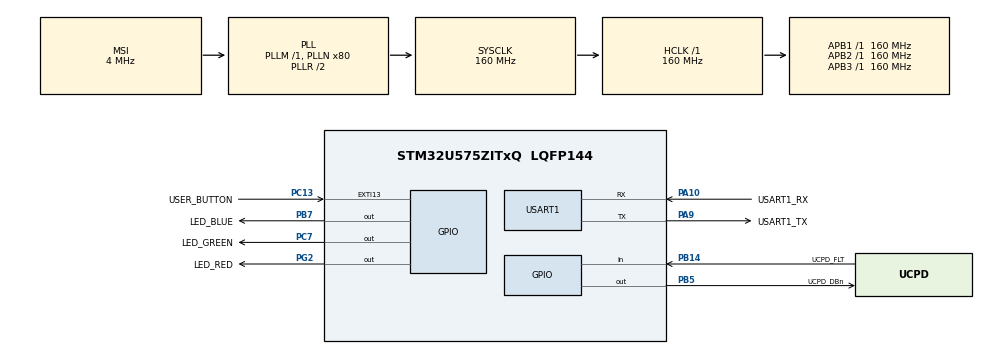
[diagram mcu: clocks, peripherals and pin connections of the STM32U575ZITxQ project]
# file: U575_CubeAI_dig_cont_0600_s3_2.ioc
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CORTEX_M33_NS.userName=CORTEX_M33
Mcu.Family=STM32U5
Mcu.Name=STM32U575ZITxQ
Mcu.Package=LQFP144
NVIC.PriorityGroup=NVIC_PRIORITYGROUP_3
PA10.GPIO_Label=USART1_RX
PA10.GPIO_PuPd=GPIO_PULLDOWN
PA10.GPIO_Speed=GPIO_SPEED_FREQ_VERY_HIGH
PA10.Mode=Asynchronous
PA10.Signal=USART1_RX
PA13\ (JTMS/SWDIO).Mode=Trace_Asynchronous_SW
PA13\ (JTMS/SWDIO).Signal=DEBUG_JTMS-SWDIO
PA14\ (JTCK/SWCLK).Mode=Trace_Asynchronous_SW
PA14\ (JTCK/SWCLK).Signal=DEBUG_JTCK-SWCLK
PA9.GPIO_Label=USART1_TX
PA9.GPIO_PuPd=GPIO_PULLDOWN
PA9.GPIO_Speed=GPIO_SPEED_FREQ_VERY_HIGH
PA9.Mode=Asynchronous
PA9.Signal=USART1_TX
PB14.GPIO_Label=UCPD_FLT
PB14.Signal=GPIO_Input
PB3\ (JTDO/TRACESWO).Mode=Trace_Asynchronous_SW
PB3\ (JTDO/TRACESWO).Signal=DEBUG_JTDO-SWO
PB5.GPIO_Label=UCPD_DBn
PB5.Signal=GPIO_Output
PB7.GPIO_Label=LED_BLUE
PB7.GPIO_ModeDefaultOutputPP=GPIO_MODE_OUTPUT_PP
PB7.GPIO_PuPd=GPIO_PULLUP
PB7.GPIO_Speed=GPIO_SPEED_FREQ_HIGH
PB7.Signal=GPIO_Output
PC13.GPIO_Label=USER_BUTTON
PC13.GPIO_ModeDefaultEXTI=GPIO_MODE_IT_FALLING
PC13.Signal=GPXTI13
PC14-OSC32_IN\ (PC14).Mode=LSE-External-Oscillator
PC14-OSC32_IN\ (PC14).Signal=RCC_OSC32_IN
PC15-OSC32_OUT\ (PC15).Mode=LSE-External-Oscillator
PC15-OSC32_OUT\ (PC15).Signal=RCC_OSC32_OUT
PC7.GPIO_Label=LED_GREEN
PC7.GPIO_PuPd=GPIO_PULLUP
PC7.GPIO_Speed=GPIO_SPEED_FREQ_HIGH
PC7.Signal=GPIO_Output
PG2.GPIO_Label=LED_RED
PG2.GPIO_ModeDefaultOutputPP=GPIO_MODE_OUTPUT_PP
PG2.GPIO_PuPd=GPIO_PULLUP
PG2.GPIO_Speed=GPIO_SPEED_FREQ_HIGH
PG2.Signal=GPIO_Output
PWR.PowerMode=PWR_SMPS_SUPPLY
ProjectManager.HeapSize=0x800
ProjectManager.StackSize=0x800
ProjectManager.TargetToolchain=STM32CubeIDE
RCC.ADCFreq_Value=16000000
RCC.AHBFreq_Value=160000000
RCC.APB1Freq_Value=160000000
RCC.APB1TimFreq_Value=160000000
RCC.APB2Freq_Value=160000000
RCC.APB2TimFreq_Value=160000000
RCC.APB3Freq_Value=160000000
RCC.CortexFreq_Value=160000000
RCC.DACCLockSelectionVirtual=RCC_DAC1CLKSOURCE_LSI
RCC.DACCLockSelectionVirtualString=RCC_DAC1CLKSOURCE_LSI
RCC.EPOD_VALUE=4000000
RCC.HCLKFreq_Value=160000000
RCC.HSE_VALUE=16000000
RCC.HSI48_VALUE=48000000
RCC.HSI_VALUE=16000000
RCC.LSIDIV_VALUE=32000
RCC.MSI_VALUE=4000000
RCC.PLLN=80
RCC.SYSCLKFreq_VALUE=160000000
RCC.SYSCLKSource=RCC_SYSCLKSOURCE_PLLCLK
RCC.USBFreq_Value=48000000
RCC.VCOOutputFreq_Value=320000000
STMicroelectronics.X-CUBE-AI.8.1.0.ActivationBufferSizeList=177164
STMicroelectronics.X-CUBE-AI.8.1.0.ActivationBuffers=pool0
STMicroelectronics.X-CUBE-AI.8.1.0.ActivationNames=pool0
STMicroelectronics.X-CUBE-AI.8.1.0.ActivationSizes=AI_NETWORK_DATA_ACTIVATION_1_SIZE
STMicroelectronics.X-CUBE-AI.8.1.0.HeapSize=0x800
STMicroelectronics.X-CUBE-AI.8.1.0.InternalRamActivationBufferMaxSize=AI_NETWORK_DATA_ACTIVATIONS_SIZE
STMicroelectronics.X-CUBE-AI.8.1.0.LatestDirectoryUsed-d95aa107a9dea7e27df92a5d5943bbae9910037f21c2b0f65aa65857521fea97=C\:\\Users\\Admin\\Desktop\\camera\\ai
STMicroelectronics.X-CUBE-AI.8.1.0.MaximumNumberOfInputLayer=1
STMicroelectronics.X-CUBE-AI.8.1.0.MaximumNumberOfOutputLayer=1
STMicroelectronics.X-CUBE-AI.8.1.0.MaximumSizeOfInputLayer=1
STMicroelectronics.X-CUBE-AI.8.1.0.MaximumSizeOfOutputLayer=1
STMicroelectronics.X-CUBE-AI.8.1.0.ModelActualCompression-d95aa107a9dea7e27df92a5d5943bbae9910037f21c2b0f65aa65857521fea97=0.0
STMicroelectronics.X-CUBE-AI.8.1.0.ModelCompression-d95aa107a9dea7e27df92a5d5943bbae9910037f21c2b0f65aa65857521fea97=None
STMicroelectronics.X-CUBE-AI.8.1.0.ModelFlashOccupation-d95aa107a9dea7e27df92a5d5943bbae9910037f21c2b0f65aa65857521fea97=1211762
STMicroelectronics.X-CUBE-AI.8.1.0.ModelHashList=d95aa107a9dea7e27df92a5d5943bbae9910037f21c2b0f65aa65857521fea97
STMicroelectronics.X-CUBE-AI.8.1.0.ModelKind-d95aa107a9dea7e27df92a5d5943bbae9910037f21c2b0f65aa65857521fea97=TFLITE
STMicroelectronics.X-CUBE-AI.8.1.0.ModelMacc-d95aa107a9dea7e27df92a5d5943bbae9910037f21c2b0f65aa65857521fea97=16388640
STMicroelectronics.X-CUBE-AI.8.1.0.ModelName-d95aa107a9dea7e27df92a5d5943bbae9910037f21c2b0f65aa65857521fea97=network
STMicroelectronics.X-CUBE-AI.8.1.0.ModelNameList=network
STMicroelectronics.X-CUBE-AI.8.1.0.ModelRamOccupation-d95aa107a9dea7e27df92a5d5943bbae9910037f21c2b0f65aa65857521fea97=177164
STMicroelectronics.X-CUBE-AI.8.1.0.ModelStructureFile-d95aa107a9dea7e27df92a5d5943bbae9910037f21c2b0f65aa65857521fea97=C\:\\Users\\Admin\\Desktop\\camera\\ai\\dig-cont_0600_s3.tflite
STMicroelectronics.X-CUBE-AI.8.1.0.ModelType-d95aa107a9dea7e27df92a5d5943bbae9910037f21c2b0f65aa65857521fea97=STM32Cube.AI runtime
STMicroelectronics.X-CUBE-AI.8.1.0.ReadyForCodeGeneration=true
STMicroelectronics.X-CUBE-AI.8.1.0.StackSize=0x800
STMicroelectronics.X-CUBE-AI.8.1.0.WorkingBufferStartAddrList=0xFFFFFFFF
STMicroelectronics.X-CUBE-AI.8.1.0.XAaCUBEAaAICcArtificialOoIntelligenceJjCore=true
STMicroelectronics.X-CUBE-AI.8.1.0.copyWeightToRam=false
STMicroelectronics.X-CUBE-AI.8.1.0.copyWeightToRam-d95aa107a9dea7e27df92a5d5943bbae9910037f21c2b0f65aa65857521fea97=false
STMicroelectronics.X-CUBE-AI.8.1.0.customLayerConfigEnabled=false
STMicroelectronics.X-CUBE-AI.8.1.0.customLayerConfigEnabled-d95aa107a9dea7e27df92a5d5943bbae9910037f21c2b0f65aa65857521fea97=false
STMicroelectronics.X-CUBE-AI.8.1.0.noOnnxIoTranspose=false
STMicroelectronics.X-CUBE-AI.8.1.0.noOnnxIoTranspose-d95aa107a9dea7e27df92a5d5943bbae9910037f21c2b0f65aa65857521fea97=false
STMicroelectronics.X-CUBE-AI.8.1.0.useInputAllocation=true
STMicroelectronics.X-CUBE-AI.8.1.0.useInputAllocation-d95aa107a9dea7e27df92a5d5943bbae9910037f21c2b0f65aa65857521fea97=true
STMicroelectronics.X-CUBE-AI.8.1.0.useOutputAllocation=true
STMicroelectronics.X-CUBE-AI.8.1.0.useOutputAllocation-d95aa107a9dea7e27df92a5d5943bbae9910037f21c2b0f65aa65857521fea97=true
TIM16.AutoReloadPreload=TIM_AUTORELOAD_PRELOAD_ENABLE
TIM16.Prescaler=159
USART1.VirtualMode-Asynchronous=VM_ASYNC
VP_CRC_VS_CRC.Mode=CRC_Activate
VP_ICACHE_VS_ICACHE.Mode=DirectMappedCache
VP_LPBAMQUEUE_VS_QUEUE.Mode=QUEUEMODE
VP_LPBAM_VS_SIG1.Mode=SmartRun
VP_LPBAM_VS_SIG4.Mode=LPDMA1
VP_PWR_VS_DBSignals.Mode=DisableDeadBatterySignals
VP_PWR_VS_LPOM.Mode=PowerOptimisation
VP_PWR_VS_SECSignals.Mode=Security/Privilege
VP_STMicroelectronics.X-CUBE-AI_VS_ArtificialOoIntelligenceJjXAaCUBEAaAI_8.1.0.Mode=ArtificialOoIntelligenceJjXAaCUBEAaAI
VP_TIM16_VS_ClockSourceINT.Mode=Enable_Timer
board=NUCLEO-U575ZI-Q

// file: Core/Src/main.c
/* USER CODE BEGIN Header */
/**
  ******************************************************************************
  * @file           : main.c
  * @brief          : Main program body
  ******************************************************************************
  * @attention
  *
  * Copyright (c) 2023 STMicroelectronics.
  * All rights reserved.
  *
  * This software is licensed under terms that can be found in the LICENSE file
  * in the root directory of this software component.
  * If no LICENSE file comes with this software, it is provided AS-IS.
  *
  ******************************************************************************
  */
/* USER CODE END Header */
#include "main.h"

/* USER CODE BEGIN Includes */
#include <stdio.h>

#include "ai_datatypes_defines.h"
#include "ai_platform.h"
#include "network_data.h"
#include "network.h"
/* USER CODE END Includes */

CRC_HandleTypeDef hcrc;

TIM_HandleTypeDef htim16;

UART_HandleTypeDef huart1;

/* USER CODE BEGIN PV */

/* 模型句柄 */
static ai_handle network = AI_HANDLE_NULL;

/* 神经网络中间�???? ( �????活缓冲区 ) */
AI_ALIGNED(32)
static ai_u8 activations[AI_NETWORK_DATA_ACTIVATIONS_SIZE];

/* 输入张量的缓冲区 */
AI_ALIGNED(32)
static ai_float in_data[AI_NETWORK_IN_1_SIZE];
// static ai_u8 in_data[AI_NETWORK_IN_1_SIZE_BYTES];

/* 输出张量的缓冲区 */
AI_ALIGNED(32)
static ai_float out_data[AI_NETWORK_OUT_1_SIZE];
// static ai_u8 out_data[AI_NETWORK_OUT_1_SIZE_BYTES];

/* 模型输入输出张量指针 */
static ai_buffer *ai_input;
static ai_buffer *ai_output;

uint8_t data[AI_NETWORK_IN_1_SIZE] = {
		255,255,255, 255,255,255, 255,255,255, 255,255,255, 255,255,255, 255,255,255, 255,255,255, 255,255,255, 255,255,255, 255,255,255, 255,255,255, 255,255,255, 255,255,255, 255,255,255, 255,255,255, 255,255,255, 255,255,255, 255,255,255, 255,255,255, 255,255,255,
		255,255,255, 255,255,255, 255,255,255, 255,255,255, 255,255,255, 255,255,255, 255,255,255, 255,255,255, 255,255,255, 255,255,255, 255,255,255, 255,255,255, 255,255,255, 255,255,255, 255,255,255, 255,255,255, 255,255,255, 255,255,255, 255,255,255, 255,255,255,
		255,255,255, 255,255,255, 255,255,255, 255,255,255, 255,255,255, 255,255,255, 255,255,255, 255,255,255, 255,255,255, 255,255,255, 239,239,239,  91, 91, 91,  80, 80, 80,  80, 80, 80,  80, 80, 80, 252,252,252, 255,255,255, 255,255,255, 255,255,255, 255,255,255,
		255,255,255, 255,255,255, 255,255,255, 255,255,255, 255,255,255, 255,255,255, 255,255,255, 255,255,255, 255,255,255, 255,255,255, 104,104,104,   7,  7,  7,   7,  7,  7,   4,  4,  4,   0,  0,  0, 124,124,124, 254,254,254, 254,254,254, 255,255,255, 255,255,255,
		255,255,255, 255,255,255, 255,255,255, 255,255,255, 255,255,255, 255,255,255, 255,255,255, 255,255,255, 254,254,254, 157,157,157,   3,  3,  3,  32, 32, 32, 116,116,116, 116,116,116,  21, 21, 21,  14, 14, 14, 176,176,176, 254,254,254, 255,255,255, 255,255,255,
		255,255,255, 255,255,255, 255,255,255, 255,255,255, 255,255,255, 255,255,255, 255,255,255, 255,255,255, 202,202,202,  22, 22, 22,   8,  8,  8, 129,129,129, 252,252,252, 255,255,255, 109,109,109,   0,  0,  0,  52, 52, 52, 215,215,215, 255,255,255, 255,255,255,
		255,255,255, 255,255,255, 255,255,255, 255,255,255, 255,255,255, 255,255,255, 255,255,255, 255,255,255,  87, 87, 87,   2,  2,  2,  67, 67, 67, 252,252,252, 255,255,255, 255,255,255, 248,248,248,  43, 43, 43,   0,  0,  0, 127,127,127, 255,255,255, 255,255,255,
		255,255,255, 255,255,255, 255,255,255, 255,255,255, 255,255,255, 255,255,255, 255,255,255, 255,255,255,  78, 78, 78,   0,  0,  0, 250,250,250, 255,255,255, 255,255,255, 255,255,255, 255,255,255, 229,229,229,   0,  0,  0, 127,127,127, 255,255,255, 255,255,255,
		255,255,255, 255,255,255, 255,255,255, 255,255,255, 255,255,255, 255,255,255, 255,255,255, 255,255,255,  76, 76, 76,   0,  0,  0, 255,255,255, 255,255,255, 255,255,255, 255,255,255, 255,255,255, 230,230,230,   3,  3,  3, 127,127,127, 255,255,255, 255,255,255,
		255,255,255, 255,255,255, 255,255,255, 255,255,255, 255,255,255, 255,255,255, 255,255,255, 255,255,255,  83, 83, 83,   1,  1,  1, 255,255,255, 255,255,255, 255,255,255, 255,255,255, 255,255,255, 229,229,229,   1,  1,  1, 127,127,127, 255,255,255, 255,255,255,
		255,255,255, 255,255,255, 255,255,255, 255,255,255, 255,255,255, 255,255,255, 255,255,255, 255,255,255,  79, 79, 79,   0,  0,  0, 255,255,255, 255,255,255, 255,255,255, 255,255,255, 255,255,255, 229,229,229,   0,  0,  0, 127,127,127, 255,255,255, 255,255,255,
		255,255,255, 255,255,255, 255,255,255, 255,255,255, 255,255,255, 255,255,255, 255,255,255, 255,255,255,  76, 76, 76,   0,  0,  0, 255,255,255, 255,255,255, 255,255,255, 255,255,255, 255,255,255, 229,229,229,   0,  0,  0, 127,127,127, 255,255,255, 255,255,255,
		255,255,255, 255,255,255, 255,255,255, 255,255,255, 255,255,255, 255,255,255, 255,255,255, 255,255,255,  76, 76, 76,   0,  0,  0, 255,255,255, 255,255,255, 255,255,255, 255,255,255, 255,255,255, 229,229,229,   0,  0,  0, 127,127,127, 255,255,255, 255,255,255,
		255,255,255, 255,255,255, 255,255,255, 255,255,255, 255,255,255, 255,255,255, 255,255,255, 255,255,255,  83, 83, 83,   1,  1,  1, 255,255,255, 255,255,255, 255,255,255, 255,255,255, 255,255,255, 229,229,229,   0,  0,  0, 127,127,127, 255,255,255, 255,255,255,
		255,255,255, 255,255,255, 255,255,255, 255,255,255, 255,255,255, 255,255,255, 255,255,255, 255,255,255,  98, 98, 98,   3,  3,  3, 255,255,255, 255,255,255, 255,255,255, 255,255,255, 255,255,255, 229,229,229,   1,  1,  1, 127,127,127, 255,255,255, 255,255,255,
		255,255,255, 255,255,255, 255,255,255, 255,255,255, 255,255,255, 255,255,255, 255,255,255, 255,255,255,  92, 92, 92,   2,  2,  2, 255,255,255, 255,255,255, 255,255,255, 255,255,255, 255,255,255, 230,230,230,   4,  4,  4, 128,128,128, 255,255,255, 255,255,255,
		255,255,255, 255,255,255, 255,255,255, 255,255,255, 255,255,255, 255,255,255, 255,255,255, 255,255,255,  77, 77, 77,   0,  0,  0, 255,255,255, 255,255,255, 255,255,255, 255,255,255, 255,255,255, 229,229,229,   1,  1,  1, 128,128,128, 255,255,255, 255,255,255,
		255,255,255, 255,255,255, 255,255,255, 255,255,255, 255,255,255, 255,255,255, 255,255,255, 255,255,255,  85, 85, 85,   3,  3,  3, 255,255,255, 255,255,255, 255,255,255, 255,255,255, 255,255,255, 230,230,230,   1,  1,  1, 128,128,128, 255,255,255, 255,255,255,
		255,255,255, 255,255,255, 255,255,255, 255,255,255, 255,255,255, 255,255,255, 255,255,255, 255,255,255,  83, 83, 83,   1,  1,  1, 255,255,255, 255,255,255, 255,255,255, 255,255,255, 255,255,255, 229,229,229,   0,  0,  0, 127,127,127, 255,255,255, 255,255,255,
		255,255,255, 255,255,255, 255,255,255, 255,255,255, 255,255,255, 255,255,255, 255,255,255, 255,255,255,  79, 79, 79,   0,  0,  0, 255,255,255, 255,255,255, 255,255,255, 255,255,255, 255,255,255, 229,229,229,   0,  0,  0, 127,127,127, 255,255,255, 255,255,255,
		255,255,255, 255,255,255, 255,255,255, 255,255,255, 255,255,255, 255,255,255, 255,255,255, 255,255,255,  76, 76, 76,   0,  0,  0, 250,250,250, 255,255,255, 255,255,255, 255,255,255, 255,255,255, 229,229,229,   0,  0,  0, 127,127,127, 255,255,255, 255,255,255,
		255,255,255, 255,255,255, 255,255,255, 255,255,255, 255,255,255, 255,255,255, 255,255,255, 255,255,255,  78, 78, 78,   1,  1,  1, 182,182,182, 254,254,254, 255,255,255, 255,255,255, 253,253,253, 164,164,164,   0,  0,  0, 128,128,128, 255,255,255, 255,255,255,
		255,255,255, 255,255,255, 255,255,255, 255,255,255, 255,255,255, 255,255,255, 255,255,255, 255,255,255, 114,114,114,   8,  8,  8,  36, 36, 36, 221,221,221, 255,255,255, 255,255,255, 207,207,207,  21, 21, 21,  17, 17, 17, 153,153,153, 255,255,255, 255,255,255,
		255,255,255, 255,255,255, 255,255,255, 255,255,255, 255,255,255, 255,255,255, 255,255,255, 255,255,255, 255,255,255,  53, 53, 53,   4,  4,  4,  85, 85, 85, 238,238,238, 239,239,239,  24, 24, 24,  19, 19, 19,  97, 97, 97, 255,255,255, 255,255,255, 255,255,255,
		255,255,255, 255,255,255, 255,255,255, 255,255,255, 255,255,255, 255,255,255, 255,255,255, 255,255,255, 255,255,255, 241,241,241,  26, 26, 26,   8,  8,  8,  20, 20, 20,  18, 18, 18,   2,  2,  2,  38, 38, 38, 244,244,244, 255,255,255, 255,255,255, 255,255,255,
		255,255,255, 255,255,255, 255,255,255, 255,255,255, 255,255,255, 255,255,255, 255,255,255, 255,255,255, 255,255,255, 255,255,255, 193,193,193,  10, 10, 10,   1,  1,  1,   0,  0,  0,   3,  3,  3, 214,214,214, 255,255,255, 255,255,255, 255,255,255, 255,255,255,
		255,255,255, 255,255,255, 255,255,255, 255,255,255, 255,255,255, 255,255,255, 255,255,255, 255,255,255, 255,255,255, 255,255,255, 247,247,247, 179,179,179, 175,175,175, 175,175,175, 176,176,176, 255,255,255, 255,255,255, 255,255,255, 255,255,255, 255,255,255,
		255,255,255, 255,255,255, 255,255,255, 255,255,255, 255,255,255, 255,255,255, 255,255,255, 255,255,255, 255,255,255, 255,255,255, 255,255,255, 255,255,255, 255,255,255, 255,255,255, 255,255,255, 255,255,255, 255,255,255, 255,255,255, 255,255,255, 255,255,255,
		255,255,255, 255,255,255, 255,255,255, 255,255,255, 255,255,255, 255,255,255, 255,255,255, 255,255,255, 255,255,255, 255,255,255, 255,255,255, 255,255,255, 255,255,255, 255,255,255, 255,255,255, 255,255,255, 255,255,255, 255,255,255, 255,255,255, 255,255,255,
		255,255,255, 255,255,255, 255,255,255, 255,255,255, 255,255,255, 255,255,255, 255,255,255, 255,255,255, 255,255,255, 255,255,255, 255,255,255, 255,255,255, 255,255,255, 255,255,255, 255,255,255, 255,255,255, 255,255,255, 255,255,255, 255,255,255, 255,255,255,
		255,255,255, 255,255,255, 255,255,255, 255,255,255, 255,255,255, 255,255,255, 255,255,255, 255,255,255, 255,255,255, 255,255,255, 255,255,255, 255,255,255, 255,255,255, 255,255,255, 255,255,255, 255,255,255, 255,255,255, 255,255,255, 255,255,255, 255,255,255,
		255,255,255, 255,255,255, 255,255,255, 255,255,255, 255,255,255, 255,255,255, 255,255,255, 255,255,255, 255,255,255, 255,255,255, 255,255,255, 255,255,255, 255,255,255, 255,255,255, 255,255,255, 255,255,255, 255,255,255, 255,255,255, 255,255,255, 255,255,255,
		};

//uint8_t data[AI_NETWORK_IN_1_SIZE] = {
//		40, 48, 48,  40, 52, 48,  48, 52, 48,  40, 48, 48,  40, 40, 40,  24, 28, 32,  24, 28, 32,  24, 28, 32,  16, 28, 32,  16, 28, 32,  24, 28, 32,  32, 28, 32,  24, 24, 32,  24, 24, 32,  16, 24, 24,  24, 20, 24,  24, 20, 24,  24, 24, 32,  16, 24, 24,  24, 20, 24,
//		40, 52, 48,  40, 52, 48,  40, 40, 48,  24, 32, 40,  24, 28, 32,  32, 28, 32,  24, 28, 40,  24, 24, 32,  24, 28, 32,  32, 32, 32,  32, 60, 48,  40, 48, 48,  32, 32, 32,  24, 20, 24,  24, 20, 24,  24, 20, 24,  24, 20, 24,  24, 20, 24,  24, 24, 24,  24, 20, 32,
//		40, 44, 40,  40, 36, 40,  24, 28, 32,  24, 20, 32,  24, 36, 32,  32, 28, 40,  16, 28, 24,  24, 16, 40,  24, 28, 32,  24, 20, 24,  40, 48, 40,  40, 56, 48,  32, 32, 32,  16, 24, 24,  24, 20, 24,  24, 20, 24,  24, 20, 16,  24, 20, 24,  24, 20, 24,  16, 28, 24,
//		32, 32, 40,  32, 28, 40,  24, 24, 40,  32, 40, 40,  56, 72, 72,  80, 88, 96,  80, 92, 96,  96, 96,112,  48, 32, 64,  32, 36, 40,  32, 28, 32,  32, 32, 32,  24, 12, 24,  24, 20, 24,  24, 20, 24,  24, 20, 24,  24, 20, 24,  24, 20, 24,  24, 20, 24,  24, 20, 24,
//		24, 24, 32,  32, 28, 40,  32, 44, 40,  72, 76, 72,  88, 96,112,  80,108,104,  96,108,112, 104,112,112, 104,108,112,  56, 48, 64,  32, 36, 40,  24, 32, 32,  24, 28, 24,  24, 24, 24,  24, 20, 24,  24, 20, 24,  24, 24, 24,  16, 24, 24,  24, 20, 24,  24, 24, 24,
//		24, 20, 32,  32, 32, 40,  48, 52, 56,  88, 84, 96, 104,112,120,  88, 88, 96,  96, 84, 96, 112,104,120, 112,112,128, 104,108,120,  40, 44, 56,  24, 36, 32,  24, 28, 32,  24, 24, 24,  24, 24, 24,  24, 20, 32,  24, 20, 24,  16, 24, 24,  16, 24, 32,  24, 28, 24,
//		24, 28, 32,  32, 28, 40,  72, 72, 80,  96,112,112,  96, 88, 96,  56, 52, 72,  32, 32, 32,  40, 36, 56,  96,112,120, 120,140,136,  72, 80, 88,  16, 20, 32,  32, 28, 40,  32, 28, 32,  24, 28, 32,  24, 28, 24,  24, 20, 24,  24, 24, 24,  24, 20, 24,  24, 24, 32,
//		32, 28, 32,  40, 48, 56,  88,104, 96, 104, 96,104,  72, 56, 72,  40, 36, 40,  40, 36, 48,  40, 48, 48,  80, 92, 88, 104,120,128,  96,100,112,  48, 48, 48,  32, 32, 40,  32, 32, 40,  32, 32, 40,  24, 28, 32,  24, 28, 32,  16, 24, 24,  24, 24, 24,  24, 28, 32,
//		24, 32, 32,  48, 56, 56,  96,112,104,  96, 96,104,  48, 56, 72,  40, 36, 48,  32, 36, 40,  32, 32, 40,  56, 72, 64, 104,120,120, 112,112,120,  48, 52, 64,  32, 36, 40,  32, 32, 40,  24, 32, 32,  24, 32, 32,  24, 32, 32,  24, 20, 32,  24, 20, 32,  24, 20, 32,
//		32, 28, 40,  56, 72, 72, 112,136,128,  88,100,104,  48, 52, 56,  32, 40, 40,  32, 36, 40,  32, 40, 40,  48, 52, 64,  88,108, 96, 120,128,128,  64, 64, 80,  24, 32, 24,  32, 28, 32,  32, 28, 32,  24, 28, 32,  24, 24, 32,  24, 28, 32,  24, 20, 24,  16, 28, 32,
//		40, 40, 48,  64, 92, 80,  96,104,112,  88, 84, 96,  48, 52, 56,  32, 36, 40,  32, 36, 40,  32, 40, 32,  40, 48, 48,  88,120,104, 128,128,128,  88, 84, 88,  32, 36, 40,  32, 32, 32,  32, 28, 32,  24, 28, 32,  24, 28, 32,  24, 32, 24,  24, 28, 24,  24, 28, 32,
//		32, 20, 40,  64, 80, 72, 104,124,120,  80, 80, 96,  40, 32, 40,  40, 36, 40,  32, 36, 40,  40, 36, 40,  32, 20, 40,  80, 84, 88, 112,120,112,  80, 92,104,  40, 40, 48,  32, 28, 32,  32, 28, 40,  32, 28, 32,  24, 32, 24,  24, 28, 32,  24, 28, 32,  24, 28, 32,
//		32, 40, 40,  64, 72, 64, 104,128,120,  80, 84, 96,  48, 36, 56,  40, 36, 48,  32, 36, 40,  32, 36, 40,  48, 40, 48,  80, 76, 88, 112,116,128,  88, 96,104,  48, 28, 56,  32, 28, 40,  24, 28, 32,  24, 28, 32,  24, 28, 32,  24, 28, 32,  24, 24, 32,  24, 28, 32,
//		40, 28, 40,  56, 56, 64,  96,108,112,  88, 84, 96,  48, 40, 56,  40, 36, 48,  32, 36, 40,  32, 36, 40,  40, 24, 40,  72, 72, 72, 112,112,128, 112,104,112,  40, 12, 48,  24, 28, 32,  24, 28, 32,  24, 28, 32,  32, 28, 32,  32, 28, 24,  24, 28, 32,  32, 28, 32,
//		40, 36, 40,  48, 44, 56,  88, 96,104,  96, 96,104,  48, 60, 56,  32, 40, 40,  32, 36, 40,  32, 36, 40,  32, 36, 40,  64, 72, 64, 104,116,128, 112,116,112,  48, 36, 48,  32, 32, 32,  24, 28, 32,  24, 24, 32,  24, 28, 32,  24, 32, 24,  24, 28, 32,  24, 28, 32,
//		32, 32, 32,  32, 40, 40,  88,112,104,  96,108,104,  64, 56, 80,  32, 48, 40,  32, 40, 48,  32, 40, 48,  32, 32, 48,  80, 84, 72, 104,112,128,  96,100,112,  48, 32, 48,  32, 32, 32,  24, 28, 32,  24, 28, 24,  24, 24, 32,  32, 28, 32,  24, 28, 32,  24, 28, 32,
//		32, 28, 32,  24, 24, 40,  72, 84, 80,  96,112,104,  80, 76, 88,  48, 44, 56,  40, 40, 48,  40, 40, 48,  32, 32, 48,  72, 96, 88, 112,132,120,  96, 88,112,  48, 36, 48,  40, 28, 40,  24, 32, 32,  24, 28, 32,  24, 28, 32,  24, 28, 32,  24, 28, 32,  32, 24, 32,
//		32, 32, 40,  32, 36, 40,  56, 68, 64,  96,108,120,  88, 96,104,  56, 60, 64,  48, 44, 48,  40, 40, 48,  32, 24, 48,  80, 96, 96, 112,116,128,  96, 84,112,  48, 44, 48,  32, 36, 40,  32, 32, 32,  32, 28, 32,  32, 32, 32,  24, 32, 32,  24, 32, 32,  32, 28, 32,
//		32, 36, 40,  40, 32, 40,  40, 48, 40,  88,100, 96, 112,104,120,  88, 76, 96,  48, 56, 56,  48, 44, 56,  56, 68, 64,  96,104,104, 112,108,120,  72, 68, 88,  40, 44, 56,  40, 36, 40,  40, 36, 40,  40, 36, 40,  32, 36, 40,  24, 32, 32,  24, 32, 32,  32, 32, 40,
//		32, 32, 32,  32, 28, 32,  40, 36, 48,  56, 76, 64,  96,112,112, 112,104,112,  88, 80, 96,  56, 68, 64,  88, 84,104, 112,112,112, 104,100,120,  72, 64, 88,  40, 40, 56,  40, 36, 48,  40, 36, 40,  40, 40, 40,  40, 36, 40,  32, 36, 40,  32, 36, 40,  32, 36, 40,
//		32, 32, 32,  32, 28, 32,  32, 36, 40,  32, 36, 40,  72, 88, 80, 104,108,112, 112,112,112, 112,116,120, 112,116,128,  96,108,112,  96, 92, 96,  48, 44, 56,  40, 40, 48,  40, 36, 40,  32, 36, 40,  32, 40, 40,  32, 40, 40,  40, 36, 40,  32, 36, 40,  32, 36, 40,
//		24, 36, 32,  32, 32, 32,  32, 36, 40,  32, 40, 40,  32, 32, 48,  88, 92, 88, 104,104,112, 104,108,104,  96,104,112,  96,104,104,  64, 52, 72,  40, 40, 40,  40, 36, 40,  32, 36, 40,  40, 36, 40,  40, 36, 40,  40, 40, 40,  40, 36, 40,  32, 36, 40,  40, 36, 40,
//		32, 36, 40,  40, 32, 40,  32, 32, 40,  32, 36, 40,  40, 40, 48,  32, 24, 40,  40, 60, 48,  72, 88, 80,  72, 72, 88,  48, 40, 56,  32, 44, 40,  40, 40, 40,  32, 36, 40,  32, 36, 32,  32, 32, 32,  40, 36, 40,  40, 40, 40,  40, 44, 48,  40, 40, 40,  40, 40, 40,
//		32, 36, 32,  32, 36, 40,  32, 36, 40,  32, 36, 40,  40, 40, 48,  40, 40, 40,  40, 40, 48,  40, 40, 48,  48, 44, 48,  48, 44, 48,  40, 44, 48,  32, 40, 40,  40, 36, 40,  32, 36, 40,  40, 32, 40,  40, 36, 40,  40, 40, 40,  48, 44, 48,  48, 44, 48,  40, 44, 40,
//		32, 36, 40,  32, 36, 40,  40, 36, 40,  40, 40, 40,  48, 40, 48,  40, 44, 40,  40, 44, 40,  40, 44, 40,  40, 44, 48,  48, 48, 48,  48, 48, 48,  40, 44, 48,  40, 44, 40,  40, 40, 40,  40, 40, 40,  40, 44, 40,  40, 44, 40,  48, 44, 48,  48, 44, 48,  48, 48, 40,
//		40, 44, 40,  40, 44, 40,  48, 44, 48,  48, 44, 48,  48, 44, 48,  48, 52, 48,  48, 52, 48,  48, 52, 56,  56, 52, 56,  64, 60, 56,  56, 56, 56,  56, 56, 56,  48, 48, 48,  48, 52, 48,  48, 48, 48,  40, 44, 40,  48, 40, 40,  48, 52, 40,  48, 44, 40,  48, 36, 40,
//		56, 52, 40,  56, 52, 40,  56, 56, 48,  64, 60, 64,  72, 72, 72,  80, 92, 72,  80, 68, 72,  72, 44, 56,  88, 92, 80, 104, 92, 88, 104,104, 88, 104, 96, 80,  80, 84, 72,  96,100, 80, 104,104, 96, 104,100, 96, 104,104, 96, 104,108, 88, 112,112, 96, 112,112,104,
//		144,128,128, 144,140,136, 144,148,128, 144,144,136, 144,140,128, 144,144,136, 144,148,136, 152,152,144, 152,152,136, 152,144,136, 144,144,136, 152,152,144, 152,152,144, 144,140,144, 144,144,144, 144,144,136, 144,144,144, 144,144,144, 144,148,144, 152,148,152,
//		144,144,144, 144,152,144, 136,148,136, 136,144,144, 144,148,144, 144,148,144, 144,148,144, 144,148,144, 152,148,144, 144,144,144, 152,148,152, 152,152,144, 152,152,152, 152,152,152, 152,152,152, 152,152,152, 152,152,152, 144,152,144, 152,152,152, 152,152,152,
//		144,148,152, 144,148,144, 152,148,152, 144,148,152, 144,152,144, 144,152,144, 144,152,152, 152,152,152, 152,152,144, 144,152,152, 152,148,152, 152,148,160, 152,148,152, 152,152,152, 152,156,152, 152,152,152, 152,156,152, 152,156,152, 152,156,152, 152,156,152,
//		144,148,152, 144,152,152, 152,148,152, 152,152,152, 152,152,152, 152,152,152, 152,152,152, 152,148,152, 144,156,152, 152,152,152, 144,156,152, 144,156,152, 152,156,152, 152,152,152, 160,156,152, 160,156,152, 152,160,152, 152,156,152, 160,156,152, 160,160,152,
//		144,148,144, 144,148,144, 152,152,152, 152,152,152, 152,148,152, 152,152,152, 160,148,152, 144,152,152, 152,156,152, 160,160,160, 160,152,144, 152,160,152, 160,156,152, 160,152,152, 152,160,152, 160,156,152, 160,156,160, 152,156,152, 160,168,152, 160,156,152,
//		};

//uint8_t data[AI_NETWORK_IN_1_SIZE] = {
//		 96, 96, 88,  96,108, 96, 104,112, 96,  96, 96, 96, 104, 88, 80,  96, 88, 72,  80, 84, 64,  88, 80, 72,  72, 68, 64,  64, 72, 56,  64, 80, 64,  72, 80, 56,  80, 72, 64,  80, 84, 64,  72, 72, 64,  72, 60, 64,  64, 60, 48,  72, 76, 56,  64, 80, 56,  56, 76, 56,
//		 24, 12,  8,  24, 24, 16,  24, 28, 16,  48, 32, 32,  32, 28, 32,  24, 28, 32,  32, 32, 32,  32, 36, 32,  32, 32, 24,  32, 32, 32,  32, 32, 32,  32, 32, 32,  32, 32, 32,  40, 32, 32,  40, 36, 32,  24, 24, 24,  40, 36, 32,  48, 52, 40,  32, 40, 32,  32, 32, 24,
//		 32, 32, 24,  32, 28, 24,  32, 28, 24,  40, 28, 32,  32, 32, 32,  32, 36, 24,  32, 32, 32,  32, 32, 32,  32, 28, 24,  32, 24, 24,  32, 24, 24,  32, 24, 24,  24, 24, 24,  32, 28, 32,  32, 32, 32,  32, 32, 24,  32, 32, 24,  32, 36, 32,  32, 32, 32,  32, 28, 24,
//		 32, 28, 24,  24, 32, 24,  32, 28, 24,  32, 32, 32,  40, 32, 32,  32, 32, 32,  32, 32, 32,  32, 32, 32,  32, 28, 32,  32, 24, 24,  24, 24, 24,  24, 24, 24,  24, 24, 24,  24, 24, 24,  24, 24, 24,  24, 28, 24,  16, 24, 24,  32, 28, 24,  32, 28, 32,  24, 28, 32,
//		 24, 32, 24,  32, 32, 24,  32, 32, 24,  32, 32, 32,  32, 36, 32,  32, 36, 32,  32, 36, 40,  32, 36, 32,  24, 32, 32,  24, 28, 32,  24, 28, 24,  24, 28, 24,  24, 24, 24,  24, 20, 24,  24, 24, 24,  24, 24, 24,  24, 24, 24,  24, 28, 24,  32, 28, 32,  24, 28, 32,
//		 24, 28, 24,  32, 32, 24,  32, 32, 32,  32, 36, 32,  32, 40, 32,  24,  8, 32,  40, 40, 48,  32, 32, 48,  32, 40, 32,  24, 24, 24,  24, 28, 24,  24, 28, 24,  32, 24, 24,  24, 24, 24,  24, 24, 24,  24, 24, 24,  24, 24, 24,  24, 28, 24,  32, 28, 32,  24, 28, 32,
//		 24, 28, 24,  24, 36, 24,  40, 32, 32,  40, 40, 32,  64, 68, 64, 104,104,104, 120,124,120, 120,116,120, 112,132,128,  48, 52, 56,  32, 20, 24,  32, 28, 32,  32, 28, 32,  32, 28, 32,  32, 28, 32,  32, 28, 24,  32, 32, 32,  32, 28, 24,  32, 28, 32,  32, 32, 32,
//		 24, 32, 24,  32, 36, 32,  32, 40, 32,  48, 52, 56, 112,116,112, 128,132,128, 120,128,128, 120,128,128, 120,124,136, 112,124,136,  64, 48, 72,  40, 40, 40,  32, 36, 40,  40, 36, 40,  40, 36, 32,  32, 36, 32,  32, 36, 32,  32, 32, 32,  32, 28, 32,  32, 32, 32,
//		 32, 32, 32,  32, 40, 32,  40, 28, 40,  96, 96, 88, 136,152,144, 128,132,136, 104,104,104, 112,128,120, 136,144,144, 120,132,128, 128,128,128,  40, 40, 48,  40, 40, 40,  32, 36, 32,  40, 36, 40,  32, 36, 32,  32, 36, 32,  40, 32, 32,  40, 32, 32,  40, 36, 32,
//		 32, 32, 32,  40, 40, 32,  40, 56, 48, 120,144,128, 136,140,144, 112, 96,104,  40, 48, 32,  40, 28, 40,  64, 88, 56, 128,140,136, 128,140,136,  64, 28, 64,  40, 40, 40,  40, 36, 32,  32, 36, 32,  32, 36, 32,  32, 32, 32,  40, 36, 32,  32, 32, 32,  32, 40, 32,
//		 32, 32, 32,  48, 36, 40,  48, 48, 40, 144,160,144, 144,156,144,  56, 52, 64,  48, 52, 48,  48, 48, 48,  40, 40, 56, 112,132,120, 128,140,136,  88, 56, 88,  40, 40, 40,  40, 40, 40,  40, 36, 40,  40, 32, 32,  32, 28, 32,  32, 32, 32,  32, 28, 32,  32, 36, 32,
//		 32, 32, 32,  40, 40, 40,  40, 52, 32, 152,168,144, 152,148,152,  56, 32, 56,  56, 44, 56,  56, 44, 56,  40, 44, 40, 120,144,128, 136,140,152,  96, 96,112,  32, 40, 32,  40, 40, 40,  40, 40, 40,  40, 32, 40,  32, 32, 32,  32, 28, 32,  32, 28, 32,  32, 32, 32,
//		 32, 32, 24,  40, 40, 40,  40, 16, 40, 144,144,136, 152,144,152,  72, 84, 96,  32, 24, 32,  40, 36, 40,  64, 68, 80, 128,144,136, 136,148,144,  80, 64, 96,  40, 40, 32,  32, 36, 32,  32, 36, 32,  32, 32, 32,  32, 28, 32,  32, 28, 24,  32, 28, 32,  32, 32, 32,
//		 32, 36, 32,  48, 40, 40,  48, 52, 48,  96,120, 88, 160,156,160, 160,160,160, 160,160,160, 160,164,160, 152,144,152, 144,156,152, 144,148,144,  64, 32, 72,  40, 40, 32,  32, 36, 32,  32, 36, 24,  32, 36, 32,  32, 32, 32,  32, 32, 24,  32, 32, 24,  32, 36, 32,
//		 40, 32, 32,  40, 44, 32,  48, 52, 48,  56, 92, 64, 160,172,160, 152,156,160, 144,156,160, 144,152,144, 144,148,152, 144,148,152, 136,112,144,  24, 24, 24,  32, 36, 32,  32, 32, 32,  32, 32, 24,  24, 32, 24,  32, 28, 24,  32, 28, 24,  32, 32, 24,  32, 32, 32,
//		 32, 28, 24,  32, 40, 32,  40, 40, 40,  88,112, 96, 152,152,152, 152,164,152, 128,132,136, 120,116,120, 136,136,136, 144,148,144, 144,148,152,  72, 24, 64,  32, 32, 24,  24, 28, 24,  24, 24, 24,  24, 24, 24,  24, 24, 16,  16, 28, 16,  24, 24, 24,  24, 24, 32,
//		 24, 28, 24,  32, 40, 32,  24, 36, 40, 144,132,128, 160,160,160, 112,104,120,  24, 20, 32,  32, 32, 32,  16,  0, 24, 112,140,120, 136,148,152, 144,136,152,   8,  0, 16,  16, 24, 24,  16, 24, 16,  16, 24, 16,  16, 24, 16,  16, 24, 16,  16, 24, 16,  24, 24, 24,
//		 32, 32, 24,  40, 44, 40,  48, 68, 40, 152,168,152, 144,140,144,  56, 32, 48,  56, 44, 48,  40, 40, 40,  32, 40, 32,  24, 12, 16, 144,152,144, 144,160,152,  32,  0, 32,  24, 28, 24,  24, 24, 24,  16, 24, 16,  16, 24, 16,  24, 16, 16,  24, 20, 16,  24, 24, 16,
//		 32, 32, 24,  40, 44, 40,  48, 80, 48, 144,140,152, 136,128,136,  48, 56, 40,  48, 44, 40,  40, 40, 32,  32, 36, 32,  24, 40, 32, 112,152,128, 152,160,144,  48,  0, 48,  24, 32, 24,  24, 28, 24,  24, 24, 24,  16, 20, 16,  24, 16, 16,  16, 20, 16,  24, 20, 16,
//		 24, 32, 24,  32, 40, 32,  40, 68, 48, 152,160,160, 136,140,136,  40, 28, 16,  48, 44, 40,  40, 36, 32,  32, 32, 32,  16, 16, 32, 104,140,112, 152,156,152,  72, 32, 80,  24, 32, 24,  24, 28, 24,  16, 24, 16,  16, 24, 16,  16, 20, 16,  16, 20, 16,  24, 20, 16,
//		 24, 32, 24,  32, 36, 32,  32, 48, 48, 144,148,144, 144,156,144,  40, 48, 40,  48, 48, 48,  40, 40, 32,  32, 32, 32,  24, 48, 40, 128,148,136, 152,152,144,  56, 24, 72,  24, 32, 32,  24, 28, 32,  24, 24, 24,  24, 20, 24,  24, 24, 16,  24, 20, 16,  24, 20, 16,
//		 32, 28, 24,  40, 36, 32,  32, 36, 24, 112,144,112, 144,144,144, 136,116,128,  40, 48, 16,  48, 32, 40,  24, 32, 16,  88,100, 80, 144,152,152, 136,144,144,  40, 44, 40,  32, 36, 40,  32, 36, 32,  32, 32, 32,  32, 28, 32,  32, 24, 24,  24, 24, 16,  24, 20, 16,
//		 24, 28, 24,  32, 32, 32,  40, 40, 40,  32, 64, 32, 136,152,136, 144,148,144, 152,148,152, 120,136,128, 128,136,128, 136,140,144, 128,140,136, 112,104,112,  24, 16, 32,  40, 44, 32,  40, 36, 32,  32, 36, 32,  32, 28, 32,  32, 32, 32,  32, 20, 24,  24, 24, 24,
//		 24, 28, 24,  32, 32, 32,  40, 40, 32,  24, 12, 24,  72,108, 72, 136,144,144, 136,144,136, 136,144,136, 136,140,136, 128,136,136, 128,124,128,  40, 20, 48,  32, 32, 24,  40, 40, 32,  32, 32, 32,  32, 32, 32,  32, 28, 32,  24, 36, 32,  40, 36, 32,  32, 28, 24,
//		 24, 32, 24,  32, 32, 32,  32, 36, 32,  32, 36, 32,  16,  0, 16,  72, 96, 72, 136,152,128, 136,136,136, 136,148,136, 112,104,120,  48, 44, 48,  16, 36, 24,  32, 28, 32,  32, 28, 32,  32, 32, 32,  32, 32, 32,  32, 28, 32,  32, 28, 24,  32, 36, 32,  32, 36, 32,
//		 24, 28, 24,  32, 32, 32,  40, 32, 40,  32, 32, 32,  32, 32, 32,  24,  8, 24,  24, 16, 24,   8,  8, 16,   8, 40,  8,  24, 24, 24,  24, 32, 32,  32, 36, 32,  32, 36, 32,  32, 24, 24,  32, 28, 32,  32, 28, 32,  32, 28, 32,  32, 28, 32,  32, 36, 32,  40, 40, 40,
//		 32, 32, 32,  32, 36, 32,  32, 36, 32,  32, 32, 32,  32, 32, 32,  40, 36, 32,  40, 44, 40,  40, 40, 40,  32, 32, 32,  32, 32, 32,  32, 32, 32,  32, 40, 32,  40, 52, 40,  48, 44, 40,  32, 32, 32,  32, 28, 24,  32, 28, 32,  32, 28, 32,  40, 32, 32,  32, 40, 32,
//		 32, 32, 32,  32, 36, 40,  32, 36, 32,  40, 32, 32,  40, 36, 32,  40, 40, 40,  48, 44, 40,  40, 40, 40,  40, 36, 32,  32, 32, 32,  32, 32, 32,  32, 36, 32,  40, 40, 32,  32, 32, 32,  32, 32, 24,  32, 32, 24,  24, 32, 24,  24, 28, 32,  32, 32, 32,  40, 32, 32,
//		 40, 36, 32,  40, 40, 40,  40, 44, 40,  40, 44, 40,  48, 40, 40,  56, 40, 40,  48, 52, 40,  48, 44, 40,  48, 40, 40,  40, 40, 40,  40, 36, 40,  40, 36, 40,  40, 40, 40,  40, 40, 40,  40, 40, 40,  40, 44, 32,  32, 36, 40,  40, 36, 40,  40, 40, 32,  56, 44, 48,
//		 40, 24, 24,  40, 28, 24,  40, 40, 32,  48, 48, 40,  48, 32, 32,  48, 44, 40,  56, 44, 48,  48, 32, 32,  48, 44, 40,  56, 36, 32,  64, 40, 32,  64, 56, 48,  72, 64, 48,  72, 44, 56,  80, 60, 48,  96, 96, 64, 104, 92, 80,  96, 80, 64, 104, 92, 72, 120,108, 96,
//		160,176,152, 160,164,152, 168,168,160, 168,168,160, 168,168,152, 168,172,152, 176,176,160, 176,172,152, 176,172,152, 168,164,152, 168,176,160, 176,172,160, 176,168,160, 168,168,160, 176,172,160, 176,168,160, 168,164,152, 168,168,152, 160,164,152, 160,156,144,
//		152,156,144, 152,160,144, 152,160,144, 152,160,144, 160,160,144, 152,160,144, 160,160,152, 160,156,152, 160,160,144, 152,160,144, 160,160,152, 160,160,152, 160,156,152, 160,160,152, 168,156,160, 168,156,160, 168,160,152, 160,160,152, 160,160,152, 168,160,152,
//		};

/* USER CODE END PV */

void SystemClock_Config(void);
static void SystemPower_Config(void);
static void MX_GPIO_Init(void);
static void MX_USART1_UART_Init(void);
static void MX_ICACHE_Init(void);
static void MX_CRC_Init(void);
static void MX_TIM16_Init(void);
/* USER CODE BEGIN PFP */

static int aiInit(void);
static int aiRun(const void *in_data, void *out_data);

/* USER CODE END PFP */

int main(void)
{
  /* USER CODE BEGIN 1 */
	char buf[100];
	int buf_len = 0;
	uint32_t timestamp;
	uint32_t timestamp1;
	float y_val[10];
	float y_vall[10];
	int	y_valll[10];
	float min, max, Radius;

  /* USER CODE END 1 */

  /* MCU Configuration--------------------------------------------------------*/

  /* Reset of all peripherals, Initializes the Flash interface and the Systick. */
  HAL_Init();

  /* Configure the system clock */
  SystemClock_Config();

  /* Configure the System Power */
  SystemPower_Config();

  /* Initialize all configured peripherals */
  MX_GPIO_Init();
  MX_USART1_UART_Init();
  MX_ICACHE_Init();
  MX_CRC_Init();
  MX_TIM16_Init();
  /* USER CODE BEGIN 2 */

  __HAL_RCC_CRC_CLK_ENABLE();	/* 启用CRC IP时钟以使用神经网络运行时�???? */

  HAL_TIM_Base_Start(&htim16);	/* 打开计时�???? */

  HAL_GPIO_WritePin(LED_RED_GPIO_Port, LED_RED_Pin, GPIO_PIN_SET);
  HAL_GPIO_WritePin(LED_GREEN_GPIO_Port, LED_GREEN_Pin, GPIO_PIN_SET);
  HAL_GPIO_WritePin(LED_BLUE_GPIO_Port, LED_BLUE_Pin, GPIO_PIN_SET);
//  HAL_GPIO_WritePin(LED_RED_GPIO_Port, LED_RED_Pin, GPIO_PIN_RESET);
//  HAL_GPIO_WritePin(LED_GREEN_GPIO_Port, LED_GREEN_Pin, GPIO_PIN_RESET);
//  HAL_GPIO_WritePin(LED_BLUE_GPIO_Port, LED_BLUE_Pin, GPIO_PIN_RESET);

  /* 初始化推�???? */
  aiInit();

  /* USER CODE END 2 */

  /* Infinite loop */
  /* USER CODE BEGIN WHILE */
  while (1)
  {

	// 填充输入缓冲�???? */
	for (uint32_t i = 0; i < AI_NETWORK_IN_1_SIZE; i++)
	{
	  ((ai_float *)in_data)[i] = data[i];
	}

	/* 获取当前时间�???? */
	timestamp = htim16.Instance->CNT;

	/* 运行推理 */
	aiRun(in_data, out_data);

	/* 获取当前时间�??? */
	timestamp1 = htim16.Instance->CNT;

	if(timestamp > timestamp1)
		timestamp1 = timestamp1 + 65535 - timestamp;
	else
		timestamp1 = timestamp1 - timestamp;

	/* 输出推理时间 (微秒) */
	buf_len = sprintf(buf,
							"duration: %lu us\r\n",
							timestamp1);
	HAL_UART_Transmit(&huart1, (uint8_t *)buf, buf_len, 100);

	/* 读取神经网络的输�???? */
	for(int i = 0; i < AI_NETWORK_OUT_1_SIZE; i++)
		y_val[i] = ((float *)out_data)[i];

    for (int i = 0; i < AI_NETWORK_OUT_1_SIZE; i ++)
    {
        y_valll[i] = (int)(y_val[i]*1000*1000*100);

		buf_len = sprintf(buf,
								"number: %d  output: %8d\r\n",
								i,
								y_valll[i]);
		HAL_UART_Transmit(&huart1, (uint8_t *)buf, buf_len, 100);
    }

//	min = y_val[0];
//	max = y_val[0];
//	for (int i = 0; i < AI_NETWORK_OUT_1_SIZE; i++)
//	{
//		if (y_val[i] < min)
//			min = y_val[i];
//		if (y_val[i] > max)
//			max = y_val[i];
//	}
//
//	Radius = max - min;
//
//	for (int i = 0; i < AI_NETWORK_OUT_1_SIZE; i ++)
//	{
//		y_vall[i] = (y_val[i] - min) / Radius;
//
//		y_valll[i] = (int)(y_vall[i]*1000*100);
//
//		buf_len = sprintf(buf,
//								"number: %d  output: %6d\r\n",
//								i,
//								y_valll[i]);
//		HAL_UART_Transmit(&huart1, (uint8_t *)buf, buf_len, 100);
//	}

    /* USER CODE END WHILE */

  }
}

void SystemClock_Config(void)
{
  RCC_OscInitTypeDef RCC_OscInitStruct = {0};
  RCC_ClkInitTypeDef RCC_ClkInitStruct = {0};

  /** Configure the main internal regulator output voltage
  */
  if (HAL_PWREx_ControlVoltageScaling(PWR_REGULATOR_VOLTAGE_SCALE1) != HAL_OK)
  {
    Error_Handler();
  }

  /** Initializes the CPU, AHB and APB buses clocks
  */
  RCC_OscInitStruct.OscillatorType = RCC_OSCILLATORTYPE_MSI;
  RCC_OscInitStruct.MSIState = RCC_MSI_ON;
  RCC_OscInitStruct.MSICalibrationValue = RCC_MSICALIBRATION_DEFAULT;
  RCC_OscInitStruct.MSIClockRange = RCC_MSIRANGE_4;
  RCC_OscInitStruct.PLL.PLLState = RCC_PLL_ON;
  RCC_OscInitStruct.PLL.PLLSource = RCC_PLLSOURCE_MSI;
  RCC_OscInitStruct.PLL.PLLMBOOST = RCC_PLLMBOOST_DIV1;
  RCC_OscInitStruct.PLL.PLLM = 1;
  RCC_OscInitStruct.PLL.PLLN = 80;
  RCC_OscInitStruct.PLL.PLLP = 2;
  RCC_OscInitStruct.PLL.PLLQ = 2;
  RCC_OscInitStruct.PLL.PLLR = 2;
  RCC_OscInitStruct.PLL.PLLRGE = RCC_PLLVCIRANGE_0;
  RCC_OscInitStruct.PLL.PLLFRACN = 0;
  if (HAL_RCC_OscConfig(&RCC_OscInitStruct) != HAL_OK)
  {
    Error_Handler();
  }

  /** Initializes the CPU, AHB and APB buses clocks
  */
  RCC_ClkInitStruct.ClockType = RCC_CLOCKTYPE_HCLK|RCC_CLOCKTYPE_SYSCLK
                              |RCC_CLOCKTYPE_PCLK1|RCC_CLOCKTYPE_PCLK2
                              |RCC_CLOCKTYPE_PCLK3;
  RCC_ClkInitStruct.SYSCLKSource = RCC_SYSCLKSOURCE_PLLCLK;
  RCC_ClkInitStruct.AHBCLKDivider = RCC_SYSCLK_DIV1;
  RCC_ClkInitStruct.APB1CLKDivider = RCC_HCLK_DIV1;
  RCC_ClkInitStruct.APB2CLKDivider = RCC_HCLK_DIV1;
  RCC_ClkInitStruct.APB3CLKDivider = RCC_HCLK_DIV1;

  if (HAL_RCC_ClockConfig(&RCC_ClkInitStruct, FLASH_LATENCY_4) != HAL_OK)
  {
    Error_Handler();
  }
}

/**
  * @brief Power Configuration
  * @retval None
  */
static void SystemPower_Config(void)
{
  HAL_PWREx_EnableVddIO2();

  /*
   * Disable the internal Pull-Up in Dead Battery pins of UCPD peripheral
   */
  HAL_PWREx_DisableUCPDDeadBattery();

  /*
   * Switch to SMPS regulator instead of LDO
   */
  if (HAL_PWREx_ConfigSupply(PWR_SMPS_SUPPLY) != HAL_OK)
  {
    Error_Handler();
  }
}

static void MX_CRC_Init(void)
{

  hcrc.Instance = CRC;
  hcrc.Init.DefaultPolynomialUse = DEFAULT_POLYNOMIAL_ENABLE;
  hcrc.Init.DefaultInitValueUse = DEFAULT_INIT_VALUE_ENABLE;
  hcrc.Init.InputDataInversionMode = CRC_INPUTDATA_INVERSION_NONE;
  hcrc.Init.OutputDataInversionMode = CRC_OUTPUTDATA_INVERSION_DISABLE;
  hcrc.InputDataFormat = CRC_INPUTDATA_FORMAT_BYTES;
  if (HAL_CRC_Init(&hcrc) != HAL_OK)
  {
    Error_Handler();
  }

}

static void MX_ICACHE_Init(void)
{

  /** Enable instruction cache in 1-way (direct mapped cache)
  */
  if (HAL_ICACHE_ConfigAssociativityMode(ICACHE_1WAY) != HAL_OK)
  {
    Error_Handler();
  }
  if (HAL_ICACHE_Enable() != HAL_OK)
  {
    Error_Handler();
  }

}

static void MX_TIM16_Init(void)
{

  htim16.Instance = TIM16;
  htim16.Init.Prescaler = 159;
  htim16.Init.CounterMode = TIM_COUNTERMODE_UP;
  htim16.Init.Period = 65535;
  htim16.Init.ClockDivision = TIM_CLOCKDIVISION_DIV1;
  htim16.Init.RepetitionCounter = 0;
  htim16.Init.AutoReloadPreload = TIM_AUTORELOAD_PRELOAD_ENABLE;
  if (HAL_TIM_Base_Init(&htim16) != HAL_OK)
  {
    Error_Handler();
  }

}

static void MX_USART1_UART_Init(void)
{

  huart1.Instance = USART1;
  huart1.Init.BaudRate = 115200;
  huart1.Init.WordLength = UART_WORDLENGTH_8B;
  huart1.Init.StopBits = UART_STOPBITS_1;
  huart1.Init.Parity = UART_PARITY_NONE;
  huart1.Init.Mode = UART_MODE_TX_RX;
  huart1.Init.HwFlowCtl = UART_HWCONTROL_NONE;
  huart1.Init.OverSampling = UART_OVERSAMPLING_16;
  huart1.Init.OneBitSampling = UART_ONE_BIT_SAMPLE_DISABLE;
  huart1.Init.ClockPrescaler = UART_PRESCALER_DIV1;
  huart1.AdvancedInit.AdvFeatureInit = UART_ADVFEATURE_NO_INIT;
  if (HAL_UART_Init(&huart1) != HAL_OK)
  {
    Error_Handler();
  }
  if (HAL_UARTEx_SetTxFifoThreshold(&huart1, UART_TXFIFO_THRESHOLD_1_8) != HAL_OK)
  {
    Error_Handler();
  }
  if (HAL_UARTEx_SetRxFifoThreshold(&huart1, UART_RXFIFO_THRESHOLD_1_8) != HAL_OK)
  {
    Error_Handler();
  }
  if (HAL_UARTEx_DisableFifoMode(&huart1) != HAL_OK)
  {
    Error_Handler();
  }

}

static void MX_GPIO_Init(void)
{
  GPIO_InitTypeDef GPIO_InitStruct = {0};

  /* GPIO Ports Clock Enable */
  __HAL_RCC_GPIOC_CLK_ENABLE();
  __HAL_RCC_GPIOB_CLK_ENABLE();
  __HAL_RCC_GPIOG_CLK_ENABLE();
  __HAL_RCC_GPIOA_CLK_ENABLE();

  /*Configure GPIO pin Output Level */
  HAL_GPIO_WritePin(LED_RED_GPIO_Port, LED_RED_Pin, GPIO_PIN_RESET);

  /*Configure GPIO pin Output Level */
  HAL_GPIO_WritePin(LED_GREEN_GPIO_Port, LED_GREEN_Pin, GPIO_PIN_RESET);

  /*Configure GPIO pin Output Level */
  HAL_GPIO_WritePin(GPIOB, UCPD_DBn_Pin|LED_BLUE_Pin, GPIO_PIN_RESET);

  /*Configure GPIO pin : USER_BUTTON_Pin */
  GPIO_InitStruct.Pin = USER_BUTTON_Pin;
  GPIO_InitStruct.Mode = GPIO_MODE_IT_FALLING;
  GPIO_InitStruct.Pull = GPIO_NOPULL;
  HAL_GPIO_Init(USER_BUTTON_GPIO_Port, &GPIO_InitStruct);

  /*Configure GPIO pin : UCPD_FLT_Pin */
  GPIO_InitStruct.Pin = UCPD_FLT_Pin;
  GPIO_InitStruct.Mode = GPIO_MODE_INPUT;
  GPIO_InitStruct.Pull = GPIO_NOPULL;
  HAL_GPIO_Init(UCPD_FLT_GPIO_Port, &GPIO_InitStruct);

  /*Configure GPIO pin : LED_RED_Pin */
  GPIO_InitStruct.Pin = LED_RED_Pin;
  GPIO_InitStruct.Mode = GPIO_MODE_OUTPUT_PP;
  GPIO_InitStruct.Pull = GPIO_PULLUP;
  GPIO_InitStruct.Speed = GPIO_SPEED_FREQ_HIGH;
  HAL_GPIO_Init(LED_RED_GPIO_Port, &GPIO_InitStruct);

  /*Configure GPIO pin : LED_GREEN_Pin */
  GPIO_InitStruct.Pin = LED_GREEN_Pin;
  GPIO_InitStruct.Mode = GPIO_MODE_OUTPUT_PP;
  GPIO_InitStruct.Pull = GPIO_PULLUP;
  GPIO_InitStruct.Speed = GPIO_SPEED_FREQ_HIGH;
  HAL_GPIO_Init(LED_GREEN_GPIO_Port, &GPIO_InitStruct);

  /*Configure GPIO pin : UCPD_DBn_Pin */
  GPIO_InitStruct.Pin = UCPD_DBn_Pin;
  GPIO_InitStruct.Mode = GPIO_MODE_OUTPUT_PP;
  GPIO_InitStruct.Pull = GPIO_NOPULL;
  GPIO_InitStruct.Speed = GPIO_SPEED_FREQ_LOW;
  HAL_GPIO_Init(UCPD_DBn_GPIO_Port, &GPIO_InitStruct);

  /*Configure GPIO pin : LED_BLUE_Pin */
  GPIO_InitStruct.Pin = LED_BLUE_Pin;
  GPIO_InitStruct.Mode = GPIO_MODE_OUTPUT_PP;
  GPIO_InitStruct.Pull = GPIO_PULLUP;
  GPIO_InitStruct.Speed = GPIO_SPEED_FREQ_HIGH;
  HAL_GPIO_Init(LED_BLUE_GPIO_Port, &GPIO_InitStruct);

}

/* USER CODE BEGIN 4 */

/*
 * 初始化推�?????
 */
int aiInit(void) {

  ai_error err;
  int buff_len = 0;
  char buff[100];

  /* 创建和初始化模型 */
  const ai_handle acts[] = { activations };
  err = ai_network_create_and_init(&network, acts, NULL);

  if (err.type != AI_ERROR_NONE) {

	    buff_len = sprintf(buff,
	    						"Error: could not create NN instance or initialize\r\n");
	    HAL_UART_Transmit(&huart1, (uint8_t *)buff, buff_len, 100);
	    while(1);
  };

  /* 获取指向模型的输�?????/输出张量的指�????? */
  ai_input = ai_network_inputs_get(network, NULL);
  ai_output = ai_network_outputs_get(network, NULL);

  return 0;
}

/*
 * 运行推理
 */
int aiRun(const void *in_data, void *out_data) {

  ai_i32 n_batch;
  ai_error err;
  int buff_len = 0;
  char buff[100];

  /* 1 - 更新输入和输出缓冲区的数据指�????? */
  ai_input[0].data = AI_HANDLE_PTR(in_data);
  ai_output[0].data = AI_HANDLE_PTR(out_data);

  /* 2 - 使用神经网络进行推理 */
  n_batch = ai_network_run(network, &ai_input[0], &ai_output[0]);

  if (n_batch != 1) {

      err = ai_network_get_error(network);

      buff_len = sprintf(buff,
    		  	  	  	  	  "Error: could not run inference because of %d\r\n",
							  err.type);
      HAL_UART_Transmit(&huart1, (uint8_t *)buff, buff_len, 100);
  };

  return 0;
}

/* USER CODE END 4 */

void Error_Handler(void)
{
  __disable_irq();
  while (1)
  {
  }
}
